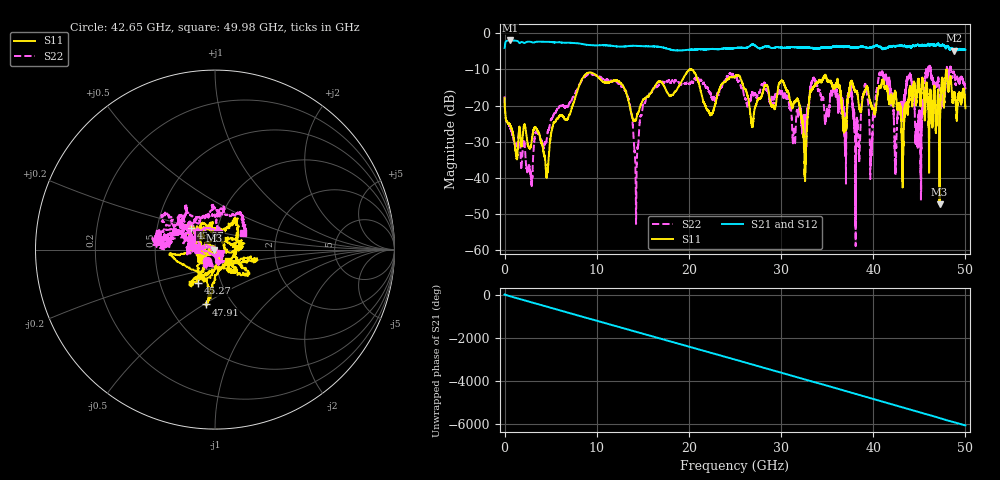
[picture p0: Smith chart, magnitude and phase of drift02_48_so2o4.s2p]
!Created with skrf (http://scikit-rf.org).
# Hz S RI R 50.0
!freq ReS11 ImS11 ReS21 ImS21 ReS12 ImS12 ReS22 ImS22
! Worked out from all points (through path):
!   10001 points, 300 kHz to 50 GHz, reference 50 ohm
!   highest |S21| = -2.00 dB at 580.3 MHz (marker M1); lowest = -4.8 dB at 48.77 GHz (marker M2)
!   group delay of S21, straight-line fit = 337 ps
!   lowest |S11| = -47.2 dB at 47.2 GHz (marker M3), VSWR 1.01, Z = 49.6 - j0.132 ohm
!   |S11| at or under -10 dB: start of sweep to 20.06 GHz; 20.20794 GHz to 20.22056 GHz (12.62 MHz wide, 0.0624 % of centre); 20.24 GHz to end of sweep (the widest 3 of 4)
!   |S22| runs from -58.9 to -9.0 dB; largest |S21 - S12| = 0.032
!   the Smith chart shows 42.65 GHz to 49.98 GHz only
!   S11 on the Smith chart (normalised r, x): 42.65 GHz: 0.86, -0.09; 43.97 GHz: 0.74, +0.19; 45.27 GHz: 0.77, -0.30; 47.91 GHz: 0.76, -0.51; 49.98 GHz: 1.15, -0.15
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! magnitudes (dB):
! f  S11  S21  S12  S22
! 300 kHz  -17.9  -4.0  -4.0  -17.4
! 580.3 MHz  -25.3  -2.0  -2.0  -26.0
! 4.565 GHz  -39.9  -2.4  -2.4  -29.3
! 8.335 GHz  -13.0  -2.9  -2.9  -13.2
! 13.01 GHz  -15.3  -3.6  -3.6  -15.7
! 14.28 GHz  -23.8  -3.5  -3.5  -50.6
! 16.67 GHz  -13.4  -3.7  -3.7  -14.5
! 25 GHz  -12.1  -4.1  -4.1  -12.1
! 30.19 GHz  -13.4  -4.1  -4.1  -17.0
! 32.58 GHz  -38.5  -4.0  -4.0  -24.3
! 33.34 GHz  -15.7  -4.0  -4.0  -13.7
! 37.48 GHz  -14.5  -3.9  -3.9  -15.9
! 38.29 GHz  -16.7  -3.9  -3.9  -24.6
! 41.67 GHz  -18.4  -3.8  -3.9  -12.9
! 42.65 GHz  -20.9  -3.5  -3.5  -22.2
! 43.97 GHz  -14.8  -3.6  -3.6  -11.5
! 45.27 GHz  -13.5  -3.3  -3.3  -22.2
! 47.2 GHz  -47.2  -3.5  -3.4  -16.3
! 47.91 GHz  -10.2  -4.1  -4.1  -11.4
! 48.77 GHz  -16.4  -4.8  -4.8  -10.7
! 49.98 GHz  -20.0  -4.6  -4.5  -14.9
! 50 GHz  -20.7  -4.6  -4.6  -15.2
